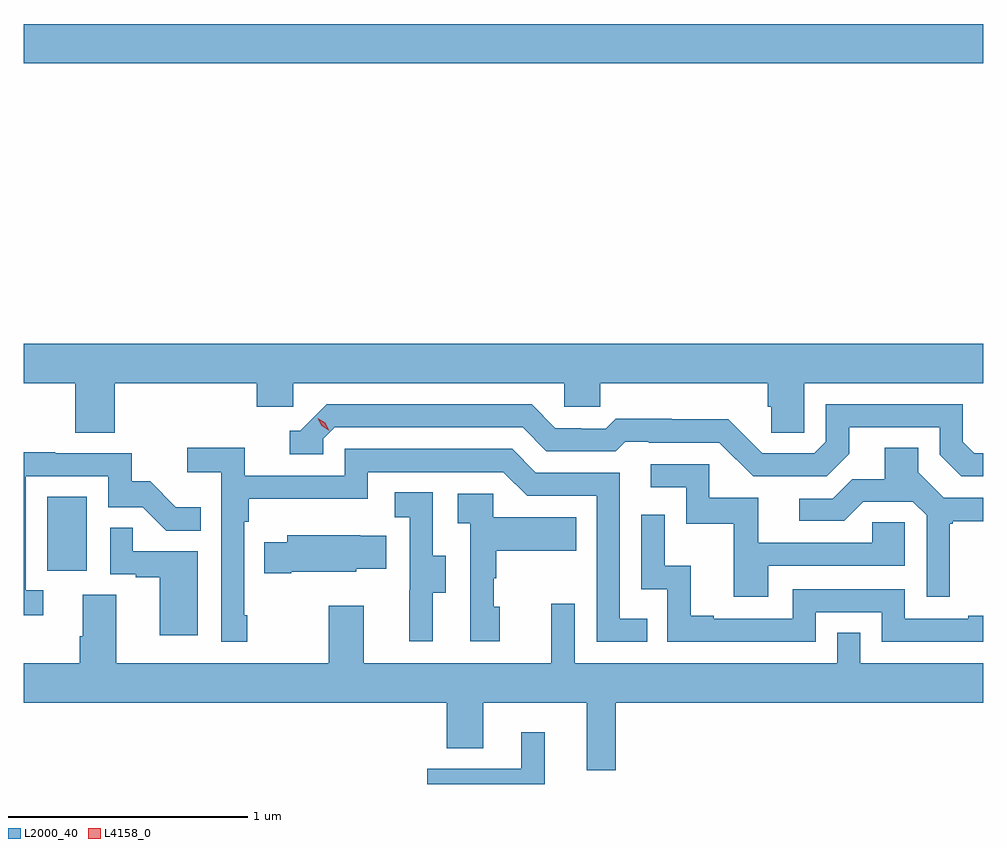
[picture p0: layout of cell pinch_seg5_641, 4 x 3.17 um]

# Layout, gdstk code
import gdstk
lib = gdstk.Library(unit=1e-6, precision=1e-09)
def R(c, l, rs):  # rectangles x0, y0, x1, y1
    for r in rs: c.add(gdstk.rectangle(r[:2], r[2:], *l))
def P(c, l, *ps):  # polygons
    for p in ps: c.add(gdstk.Polygon(p, *l))
L2000_40 = (2000, 40)
L4158_0 = (4158, 0)

pinch_seg5_641 = lib.new_cell('pinch_seg5_641')
R(pinch_seg5_641, L2000_40, [(1031.786,862.638,1031.95,862.945), (1031.687,864.752,1035.687,864.916)])
P(pinch_seg5_641, L2000_40, [(1032.068,863.42),(1032.659,863.42),(1032.659,863.322),(1032.81,863.322),(1032.81,863.42),(1033.941,863.42),(1033.941,863.322),(1034.091,863.322),(1034.091,863.42),(1034.789,863.42),(1034.789,863.322),(1034.803,863.322),(1034.803,863.212),(1034.94,863.212),(1034.94,863.42),(1035.687,863.42),(1035.687,863.584),(1031.687,863.584),(1031.687,863.42),(1031.903,863.42),(1031.903,863.212),(1032.068,863.212)],
  [(1035.127,863.125),(1035.127,863.235),(1035.504,863.235),(1035.504,863.121),(1035.594,863.031),(1035.687,863.031),(1035.687,863.127),(1035.648,863.127),(1035.6,863.175),(1035.6,863.331),(1035.03,863.331),(1035.03,863.175),(1034.982,863.127),(1034.766,863.127),(1034.624,863.269),(1034.388,863.269),(1034.388,863.272),(1034.155,863.272),(1034.113,863.229),(1034.01,863.229),(1034.01,863.232),(1033.903,863.232),(1033.804,863.331),(1032.951,863.331),(1032.84,863.22),(1032.797,863.22),(1032.797,863.124),(1032.936,863.124),(1032.936,863.187),(1032.984,863.235),(1033.767,863.235),(1033.866,863.136),(1034.155,863.136),(1034.194,863.175),(1034.293,863.175),(1034.293,863.172),(1034.586,863.172),(1034.727,863.031),(1035.033,863.031)],
  [(1032.619,862.453),(1032.606,862.453),(1032.606,862.841),(1032.626,862.841),(1032.626,862.937),(1033.122,862.937),(1033.122,863.049),(1033.686,863.049),(1033.785,862.95),(1034.076,862.95),(1034.076,862.341),(1034.285,862.341),(1034.285,862.437),(1034.172,862.437),(1034.172,863.046),(1033.822,863.046),(1033.723,863.145),(1033.026,863.145),(1033.026,863.034),(1032.608,863.034),(1032.608,863.15),(1032.369,863.15),(1032.369,863.048),(1032.51,863.048),(1032.51,862.341),(1032.619,862.341)],
  [(1035.547,862.833),(1035.559,862.833),(1035.559,862.844),(1035.687,862.844),(1035.687,862.941),(1035.522,862.941),(1035.415,863.048),(1035.415,863.15),(1035.275,863.15),(1035.275,863.018),(1035.14,863.018),(1035.06,862.938),(1034.919,862.938),(1034.919,862.845),(1035.106,862.845),(1035.187,862.926),(1035.393,862.926),(1035.45,862.869),(1035.45,862.53),(1035.547,862.53)],
  [(1031.77,862.557),(1031.697,862.557),(1031.697,863.031),(1032.039,863.031),(1032.039,862.902),(1032.183,862.902),(1032.281,862.804),(1032.425,862.804),(1032.425,862.903),(1032.321,862.903),(1032.214,863.01),(1032.138,863.01),(1032.138,863.127),(1031.819,863.127),(1031.819,863.132),(1031.687,863.132),(1031.687,862.452),(1031.77,862.452)],
  [(1034.791,862.659),(1035.36,862.659),(1035.36,862.839),(1035.223,862.839),(1035.223,862.755),(1034.749,862.755),(1034.749,862.941),(1034.544,862.941),(1034.544,863.082),(1034.301,863.082),(1034.301,862.986),(1034.448,862.986),(1034.448,862.833),(1034.647,862.833),(1034.647,862.53),(1034.791,862.53)],
  [(1033.393,862.546),(1033.447,862.546),(1033.447,862.701),(1033.392,862.701),(1033.392,862.964),(1033.233,862.964),(1033.233,862.861),(1033.296,862.861),(1033.296,862.557),(1033.295,862.557),(1033.295,862.344),(1033.393,862.344)],
  [(1033.672,862.488),(1033.647,862.488),(1033.647,862.607),(1033.657,862.607),(1033.657,862.721),(1033.991,862.721),(1033.991,862.861),(1033.644,862.861),(1033.644,862.959),(1033.497,862.959),(1033.497,862.835),(1033.548,862.835),(1033.548,862.344),(1033.672,862.344)],
  [(1034.988,862.464),(1035.264,862.464),(1035.264,862.341),(1035.687,862.341),(1035.687,862.45),(1035.623,862.45),(1035.623,862.437),(1035.36,862.437),(1035.36,862.56),(1034.892,862.56),(1034.892,862.437),(1034.563,862.437),(1034.563,862.45),(1034.468,862.45),(1034.468,862.658),(1034.358,862.658),(1034.358,862.87),(1034.262,862.87),(1034.262,862.56),(1034.37,862.56),(1034.37,862.341),(1034.988,862.341)],
  [(1032.412,862.719),(1032.143,862.719),(1032.143,862.817),(1032.048,862.817),(1032.048,862.623),(1032.155,862.623),(1032.155,862.611),(1032.254,862.611),(1032.254,862.368),(1032.412,862.368)],
  [(1032.802,862.634),(1033.074,862.634),(1033.074,862.646),(1033.199,862.646),(1033.199,862.783),(1033.091,862.783),(1033.091,862.786),(1032.785,862.786),(1032.785,862.756),(1032.691,862.756),(1032.691,862.627),(1032.802,862.627)],
  [(1033.105,862.492),(1032.958,862.492),(1032.958,862.252),(1032.073,862.252),(1032.073,862.538),(1031.933,862.538),(1031.933,862.364),(1031.921,862.364),(1031.921,862.252),(1031.687,862.252),(1031.687,862.088),(1033.451,862.088),(1033.451,861.898),(1033.603,861.898),(1033.603,862.088),(1034.033,862.088),(1034.033,861.807),(1034.155,861.807),(1034.155,862.088),(1035.687,862.088),(1035.687,862.252),(1035.174,862.252),(1035.174,862.379),(1035.078,862.379),(1035.078,862.252),(1033.983,862.252),(1033.983,862.501),(1033.886,862.501),(1033.886,862.252),(1033.105,862.252)],
  [(1033.858,861.964),(1033.76,861.964),(1033.76,861.813),(1033.37,861.813),(1033.37,861.749),(1033.858,861.749)])
P(pinch_seg5_641, L4158_0, [(1032.96,863.221),(1032.929,863.241),(1032.913,863.273),(1032.913,863.274),(1032.914,863.274),(1032.944,863.254),(1032.96,863.221),(1032.96,863.221)])

lib.write_gds('pinch_seg5_641.gds')
